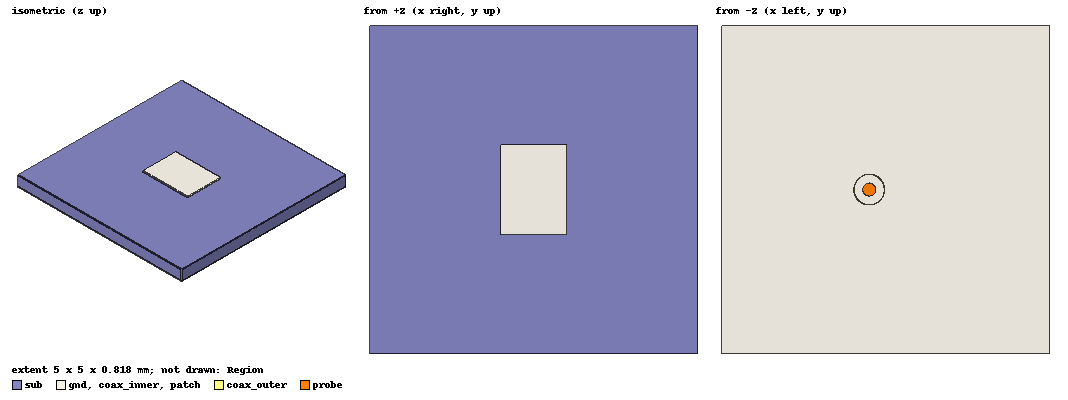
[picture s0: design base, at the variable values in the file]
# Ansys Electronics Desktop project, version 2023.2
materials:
  vacuum: permittivity=1
  Rogers RO4350 (tm): permittivity=3.66 dielectric_loss_tangent=0.004
  pec: conductivity=1e+30
  air: permittivity=1.0006 permeability=1.0000004

design base (HFSS, HFSS Modal Network, model units mm)
options: Allow_Material_Override
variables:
  sub_x = 5mm
  sub_y = 5mm
  sub_h = 0.3mm
  patch_x = 1.01mm
  patch_y = 1.37mm
  probe_r = 0.1mm
  probe_p = 0.25mm
  feed_l = 0.5mm
  copper_t = 0.018mm
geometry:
  sub [Rogers RO4350 (tm)] = box(corner=(-sub_x/2, -sub_y/2, 0mm), size=(sub_x, sub_y, sub_h))
  patch [pec] = box(corner=(-patch_x/2, -patch_y/2, sub_h), size=(patch_x, patch_y, copper_t))
  gnd [pec] = box(corner=(-sub_x/2, -sub_y/2, 0mm), size=(sub_x, sub_y, -copper_t))
  probe [pec] = cylinder(axis=Z, base_centre=(probe_p, 0mm, -feed_l), radius=probe_r, height=sub_h+feed_l)
  coax_inner [air] = cylinder(axis=Z, base_centre=(probe_p, 0mm, -feed_l), radius=probe_r* 2.3, height=feed_l)
  coax_outer [pec] = cylinder(axis=Z, base_centre=(probe_p, 0mm, -feed_l), radius=probe_r* 2.35, height=feed_l)
  coax_inner_1 = coax_inner.copy()
  gnd.subtract(coax_inner_1)
  Region [air] = region(absolute_offset=2.5mm on all sides)
  coax_inner_2 = coax_inner.copy()
  coax_outer.subtract(coax_inner_2)
  probe_1 = probe.copy()
  coax_inner.subtract(probe_1)
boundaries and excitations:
  Rad__OPU4IR: Radiation Objects=Region
  1: Lumped Port Faces=coax_inner.face(-z end) LumpedPortType=Modal Modes{Mode1{IntLine{(0.25, 0.1, -0.5) -> (0.25, 0.23, -0.5)} CharImp=Zpi RenormImp=50ohm}} Impedance=50ohm
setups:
  Setup1: HfssDriven Frequency=60GHz MaxDeltaS=0.02 MaximumPasses=10 MinimumPasses=1 MinimumConvergedPasses=1 PercentRefinement=30 BasisOrder=1 PortAccuracy=2 DrivenSolverType="Direct Solver"
    sweep Sweep: 55GHz to 65GHz, 41 points; Type=Fast
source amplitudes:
  1:1: 1W 0deg
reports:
  S Parameter: dB(S(1,1)) vs Freq on Setup1 : Sweep [sub_x=all sub_y=all sub_h=all patch_x=all patch_y=all probe_r=all probe_p=all feed_l=all copper_t=all]
